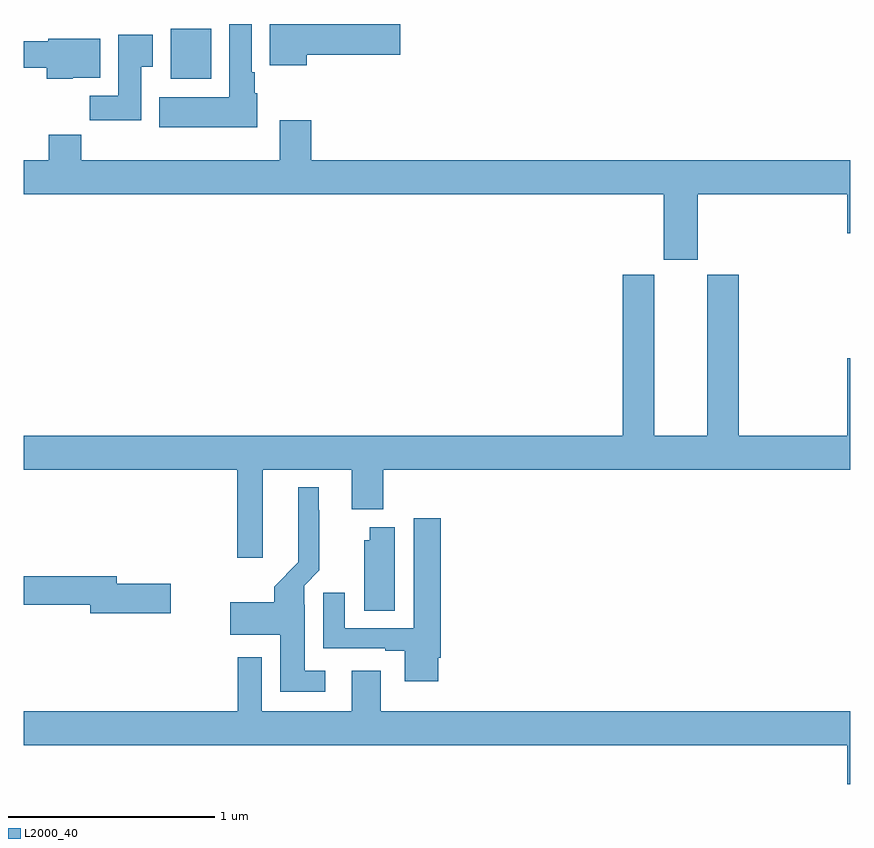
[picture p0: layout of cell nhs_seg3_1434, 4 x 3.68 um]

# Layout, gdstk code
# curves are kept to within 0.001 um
import gdstk
lib = gdstk.Library(unit=1e-6, precision=1e-09)
def R(c, l, rs):  # rectangles x0, y0, x1, y1
    for r in rs: c.add(gdstk.rectangle(r[:2], r[2:], *l))
def P(c, l, *ps):  # polygons
    for p in ps: c.add(gdstk.Polygon(p, *l))
L2000_40 = (2000, 40)

nhs_seg3_1434 = lib.new_cell('nhs_seg3_1434')
R(nhs_seg3_1434, L2000_40, [(185.711,708.134,185.908,708.376)])
P(nhs_seg3_1434, L2000_40, [(186.13,708.066),(186.118,708.066),(186.118,708.166),(186.103,708.166),(186.103,708.4),(185.996,708.4),(185.996,708.046),(185.657,708.046),(185.657,707.9),(186.13,707.9)],
  [(186.37,708.251),(186.823,708.251),(186.823,708.398),(186.37,708.398),(186.37,708.4),(186.191,708.4),(186.191,708.2),(186.37,708.2)],
  [(185.569,708.193),(185.626,708.193),(185.626,708.349),(185.459,708.349),(185.459,708.052),(185.32,708.052),(185.32,707.934),(185.569,707.934)],
  [(185.238,708.14),(185.371,708.14),(185.371,708.328),(185.12,708.328),(185.12,708.317),(185,708.317),(185,708.189),(185.113,708.189),(185.113,708.134),(185.238,708.134)],
  [(188.26,707.576),(188.984,707.576),(188.984,707.388),(189,707.388),(189,707.74),(186.392,707.74),(186.392,707.935),(186.239,707.935),(186.239,707.74),(185.279,707.74),(185.279,707.864),(185.123,707.864),(185.123,707.74),(185,707.74),(185,707.576),(188.096,707.576),(188.096,707.259),(188.26,707.259)],
  [(186.157,706.244),(186.587,706.244),(186.587,706.052),(186.74,706.052),(186.74,706.244),(189,706.244),(189,706.783),(188.984,706.783),(188.984,706.408),(188.459,706.408),(188.459,707.187),(188.306,707.187),(188.306,706.408),(188.05,706.408),(188.05,707.187),(187.898,707.187),(187.898,706.408),(185,706.408),(185,706.244),(186.035,706.244),(186.035,705.819),(186.157,705.819)],
  [(186.46,705.271),(186.361,705.271),(186.361,705.59),(186.357,705.59),(186.357,705.684),(186.431,705.758),(186.431,706.049),(186.427,706.049),(186.427,706.159),(186.329,706.159),(186.33,705.796),(186.212,705.678),(186.212,705.604),(186,705.604),(186,705.446),(186.242,705.446),(186.242,705.17),(186.46,705.17)],
  [(187.006,705.334),(187.019,705.334),(187.019,706.009),(186.887,706.009),(186.887,705.477),(186.553,705.477),(186.553,705.649),(186.449,705.649),(186.449,705.381),(186.749,705.381),(186.749,705.369),(186.845,705.369),(186.845,705.222),(187.006,705.222)],
  [(186.796,705.967),(186.674,705.967),(186.674,705.903),(186.647,705.903),(186.647,705.562),(186.796,705.562)],
  [(185.713,705.692),(185.452,705.692),(185.452,705.728),(185,705.728),(185,705.592),(185.324,705.592),(185.324,705.55),(185.713,705.55)],
  [(189,705.076),(186.727,705.076),(186.727,705.271),(186.587,705.271),(186.587,705.076),(186.153,705.076),(186.153,705.337),(186.037,705.337),(186.037,705.076),(185,705.076),(185,704.912),(188.984,704.912),(188.984,704.724),(189,704.724)])

lib.write_gds('nhs_seg3_1434.gds')
